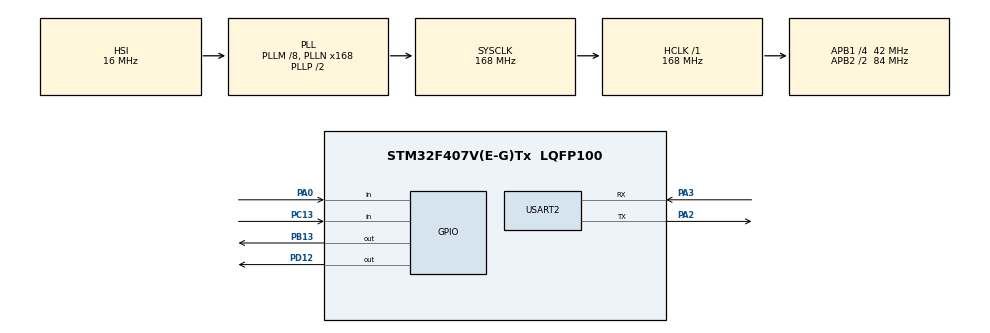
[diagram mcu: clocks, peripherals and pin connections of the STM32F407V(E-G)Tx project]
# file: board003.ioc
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Mcu.Family=STM32F4
Mcu.Name=STM32F407V(E-G)Tx
Mcu.Package=LQFP100
NVIC.PriorityGroup=NVIC_PRIORITYGROUP_4
PA0-WKUP.Signal=GPIO_Input
PA2.Mode=Asynchronous
PA2.Signal=USART2_TX
PA3.Mode=Asynchronous
PA3.Signal=USART2_RX
PB13.Signal=GPIO_Output
PC13-ANTI_TAMP.Signal=GPIO_Input
PD12.Signal=GPIO_Output
ProjectManager.HeapSize=0x200
ProjectManager.StackSize=0x400
ProjectManager.TargetToolchain=SW4STM32
RCC.48MHZClocksFreq_Value=84000000
RCC.AHBFreq_Value=168000000
RCC.APB1CLKDivider=RCC_HCLK_DIV4
RCC.APB1Freq_Value=42000000
RCC.APB1TimFreq_Value=84000000
RCC.APB2CLKDivider=RCC_HCLK_DIV2
RCC.APB2Freq_Value=84000000
RCC.APB2TimFreq_Value=168000000
RCC.CortexFreq_Value=168000000
RCC.HCLKFreq_Value=168000000
RCC.HSE_VALUE=25000000
RCC.HSI_VALUE=16000000
RCC.LSE_VALUE=32768
RCC.PLLM=8
RCC.PLLN=168
RCC.SYSCLKFreq_VALUE=168000000
RCC.SYSCLKSource=RCC_SYSCLKSOURCE_PLLCLK
RCC.VCOOutputFreq_Value=336000000
USART2.VirtualMode=VM_ASYNC
board=custom

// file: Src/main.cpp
/* USER CODE BEGIN Header */
/**
  ******************************************************************************
  * @file           : main.c
  * @brief          : Main program body
  ******************************************************************************
  * @attention
  *
  * <h2><center>&copy; Copyright (c) 2020 STMicroelectronics.
  * All rights reserved.</center></h2>
  *
  * This software component is licensed by ST under BSD 3-Clause license,
  * the "License"; You may not use this file except in compliance with the
  * License. You may obtain a copy of the License at:
  *                        opensource.org/licenses/BSD-3-Clause
  *
  ******************************************************************************
  */
/* USER CODE END Header */

#include "main.h"

UART_HandleTypeDef huart2;

void SystemClock_Config(void);
static void MX_GPIO_Init(void);
static void MX_USART2_UART_Init(void);

unsigned char moji[]="0123456789abcdef";
unsigned char data2char(unsigned char c){
	return moji[c];
}

	unsigned char data[2];
	unsigned char* data2chars(unsigned char c){

	data[0] = data2char((c & 0xf0)>>4);
	data[1] = data2char((c & 0x0f));
	return data;
}

int main(void)
{

  /* MCU Configuration--------------------------------------------------------*/

  /* Reset of all peripherals, Initializes the Flash interface and the Systick. */
  HAL_Init();

  /* Configure the system clock */
  SystemClock_Config();

  /* Initialize all configured peripherals */
  MX_GPIO_Init();
  MX_USART2_UART_Init();
  /* USER CODE BEGIN 2 */
  char buf[] =  "A\n\r";
   HAL_UART_Transmit(&huart2, (uint8_t *)buf, sizeof(buf), 0xFFFF);

   unsigned char sendbuf_05[12] = {0};
   sendbuf_05[0]  = (unsigned char)0xFA;
   sendbuf_05[1]  = (unsigned char)0xAF;
   sendbuf_05[2]  = (unsigned char)0x03;//03
   sendbuf_05[3]  = (unsigned char)0x00;//00
   sendbuf_05[4]  = (unsigned char)0x1E;//1E
   sendbuf_05[5]  = (unsigned char)0x04;//04
   sendbuf_05[6]  = (unsigned char)0x01;//01
   sendbuf_05[7]  = (unsigned char)0x32;//32(0032-L)
   sendbuf_05[8]  = (unsigned char)0x00;//00(0032-H)
   sendbuf_05[9]  = (unsigned char)0xF4;//F4(01F4-L)
   sendbuf_05[10]  = (unsigned char)0x01;//01(01F4-H)

   unsigned char check_sum = sendbuf_05[2];
   for( int i = 3; i < 10; i++ )
   {
   check_sum = (unsigned char)(check_sum ^ sendbuf_05[i]);
    }
   sendbuf_05[11] = check_sum;

//    unsigned char sendbuf_90[12] = {0};
//    sendbuf_90[0]  = (unsigned char)0xFA;
//    sendbuf_90[1]  = (unsigned char)0xAF;
//    sendbuf_90[2]  = (unsigned char)0x03;//03
//    sendbuf_90[3]  = (unsigned char)0x00;//00
//    sendbuf_90[4]  = (unsigned char)0x1E;//1E
//    sendbuf_90[5]  = (unsigned char)0x04;//04
//    sendbuf_90[6]  = (unsigned char)0x01;//01
//    sendbuf_90[7]  = (unsigned char)0x84;//84(0384-L)
//    sendbuf_90[8]  = (unsigned char)0x03;//03(0384-H)
//    sendbuf_90[9]  = (unsigned char)0xF4;//F4(01F4-L)
//    sendbuf_90[10]  = (unsigned char)0x01;//01(01F4-H)
//
//    check_sum = sendbuf_90[2];
//    for( int i = 3; i < 10; i++ )
//    {
//    check_sum = (unsigned char)(check_sum ^ sendbuf_90[i]);
//     }
//    sendbuf_90[11] = check_sum;

    unsigned char sendbuf_torque[9] = {0};
    sendbuf_torque[0]  = (unsigned char)0xFA;
    sendbuf_torque[1]  = (unsigned char)0xAF;
    sendbuf_torque[2]  = (unsigned char)0x03;//03
    sendbuf_torque[3]  = (unsigned char)0x00;//00
    sendbuf_torque[4]  = (unsigned char)0x24;//1E
    sendbuf_torque[5]  = (unsigned char)0x01;//01
    sendbuf_torque[6]  = (unsigned char)0x01;//01
    sendbuf_torque[7]  = (unsigned char)0x01;//01(torque)

    check_sum = sendbuf_torque[2];
    for( int i = 3; i < 8; i++ )
    {
    check_sum = (unsigned char)(check_sum ^ sendbuf_torque[i]);
     }
    sendbuf_torque[8] = check_sum;
  /* USER CODE END 2 */

  /* Infinite loop */
  /* USER CODE BEGIN WHILE */
  while (1)
  {
	  unsigned char buf[23]={0};//文字変化用
	  for(int i=0 ; i<=11 ; i++){//文字変化用
//		  unsigned char datas[3];
//		  datas=data2chars(sendbuf[i]);
		  data2chars(sendbuf_05[i]);//文字変化用

		  buf[i*2+0]=data[0];//文字変化用
		  buf[i*2+1]=data[1];//文字変化用
	  }
	  {if(HAL_GPIO_ReadPin(GPIOA, GPIO_PIN_0)){ //ボタン状態取得
	 	  HAL_UART_Transmit(&huart2, (uint8_t *)buf, 9*2, 0xFFFF);
	 	  HAL_GPIO_WritePin(GPIOD,GPIO_PIN_12,GPIO_PIN_SET); //ボタンが押されたらLED消灯
	 	  HAL_Delay(100);
	  }else{HAL_GPIO_WritePin(GPIOD,GPIO_PIN_12,GPIO_PIN_RESET); //ボタンが押されてないときLDE点灯
	  	  HAL_Delay(100);
		  }
	  }
    /* USER CODE END WHILE */

  }
}

void SystemClock_Config(void)
{
  RCC_OscInitTypeDef RCC_OscInitStruct = {0};
  RCC_ClkInitTypeDef RCC_ClkInitStruct = {0};

  /** Configure the main internal regulator output voltage
  */
  __HAL_RCC_PWR_CLK_ENABLE();
  __HAL_PWR_VOLTAGESCALING_CONFIG(PWR_REGULATOR_VOLTAGE_SCALE1);
  /** Initializes the CPU, AHB and APB busses clocks
  */
  RCC_OscInitStruct.OscillatorType = RCC_OSCILLATORTYPE_HSI;
  RCC_OscInitStruct.HSIState = RCC_HSI_ON;
  RCC_OscInitStruct.HSICalibrationValue = RCC_HSICALIBRATION_DEFAULT;
  RCC_OscInitStruct.PLL.PLLState = RCC_PLL_ON;
  RCC_OscInitStruct.PLL.PLLSource = RCC_PLLSOURCE_HSI;
  RCC_OscInitStruct.PLL.PLLM = 8;
  RCC_OscInitStruct.PLL.PLLN = 168;
  RCC_OscInitStruct.PLL.PLLP = RCC_PLLP_DIV2;
  RCC_OscInitStruct.PLL.PLLQ = 4;
  if (HAL_RCC_OscConfig(&RCC_OscInitStruct) != HAL_OK)
  {
    Error_Handler();
  }
  /** Initializes the CPU, AHB and APB busses clocks
  */
  RCC_ClkInitStruct.ClockType = RCC_CLOCKTYPE_HCLK|RCC_CLOCKTYPE_SYSCLK
                              |RCC_CLOCKTYPE_PCLK1|RCC_CLOCKTYPE_PCLK2;
  RCC_ClkInitStruct.SYSCLKSource = RCC_SYSCLKSOURCE_PLLCLK;
  RCC_ClkInitStruct.AHBCLKDivider = RCC_SYSCLK_DIV1;
  RCC_ClkInitStruct.APB1CLKDivider = RCC_HCLK_DIV4;
  RCC_ClkInitStruct.APB2CLKDivider = RCC_HCLK_DIV2;

  if (HAL_RCC_ClockConfig(&RCC_ClkInitStruct, FLASH_LATENCY_5) != HAL_OK)
  {
    Error_Handler();
  }
}

static void MX_USART2_UART_Init(void)
{

  huart2.Instance = USART2;
  huart2.Init.BaudRate = 115200;
  huart2.Init.WordLength = UART_WORDLENGTH_8B;
  huart2.Init.StopBits = UART_STOPBITS_1;
  huart2.Init.Parity = UART_PARITY_NONE;
  huart2.Init.Mode = UART_MODE_TX_RX;
  huart2.Init.HwFlowCtl = UART_HWCONTROL_NONE;
  huart2.Init.OverSampling = UART_OVERSAMPLING_16;
  if (HAL_UART_Init(&huart2) != HAL_OK)
  {
    Error_Handler();
  }

}

static void MX_GPIO_Init(void)
{
  GPIO_InitTypeDef GPIO_InitStruct = {0};

  /* GPIO Ports Clock Enable */
  __HAL_RCC_GPIOC_CLK_ENABLE();
  __HAL_RCC_GPIOA_CLK_ENABLE();
  __HAL_RCC_GPIOB_CLK_ENABLE();
  __HAL_RCC_GPIOD_CLK_ENABLE();

  /*Configure GPIO pin Output Level */
  HAL_GPIO_WritePin(GPIOB, GPIO_PIN_13, GPIO_PIN_RESET);

  /*Configure GPIO pin Output Level */
  HAL_GPIO_WritePin(GPIOD, GPIO_PIN_12, GPIO_PIN_RESET);

  /*Configure GPIO pin : PC13 */
  GPIO_InitStruct.Pin = GPIO_PIN_13;
  GPIO_InitStruct.Mode = GPIO_MODE_INPUT;
  GPIO_InitStruct.Pull = GPIO_NOPULL;
  HAL_GPIO_Init(GPIOC, &GPIO_InitStruct);

  /*Configure GPIO pin : PA0 */
  GPIO_InitStruct.Pin = GPIO_PIN_0;
  GPIO_InitStruct.Mode = GPIO_MODE_INPUT;
  GPIO_InitStruct.Pull = GPIO_NOPULL;
  HAL_GPIO_Init(GPIOA, &GPIO_InitStruct);

  /*Configure GPIO pin : PB13 */
  GPIO_InitStruct.Pin = GPIO_PIN_13;
  GPIO_InitStruct.Mode = GPIO_MODE_OUTPUT_PP;
  GPIO_InitStruct.Pull = GPIO_NOPULL;
  GPIO_InitStruct.Speed = GPIO_SPEED_FREQ_LOW;
  HAL_GPIO_Init(GPIOB, &GPIO_InitStruct);

  /*Configure GPIO pin : PD12 */
  GPIO_InitStruct.Pin = GPIO_PIN_12;
  GPIO_InitStruct.Mode = GPIO_MODE_OUTPUT_PP;
  GPIO_InitStruct.Pull = GPIO_NOPULL;
  GPIO_InitStruct.Speed = GPIO_SPEED_FREQ_LOW;
  HAL_GPIO_Init(GPIOD, &GPIO_InitStruct);

}

void Error_Handler(void)
{
}

/************************ (C) COPYRIGHT STMicroelectronics *****END OF FILE****/
